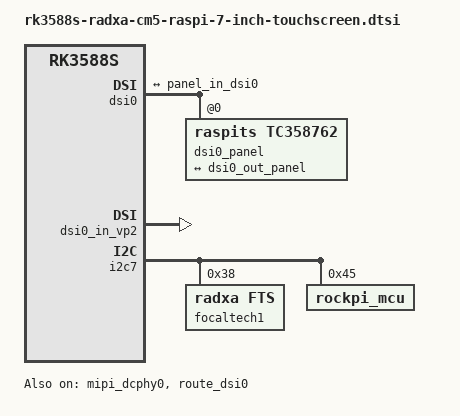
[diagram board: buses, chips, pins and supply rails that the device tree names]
// SPDX-License-Identifier: (GPL-2.0+ OR MIT)
/*
 * Copyright (c) 2021 Rockchip Electronics Co., Ltd.
 */

#include <dt-bindings/display/rockchip_vop.h>

/ {
	compatible = "radxa,rock-cm5", "rockchip,rk3588s";
};

&mipi_dcphy0 {
    status = "okay";
};

&dsi0 {
	status = "okay";
	#address-cells = <1>;
    #size-cells = <0>;
    rockchip,lane-rate = <605>;


	dsi0_panel: dsi-panel@0 {
		compatible = "raspits,tc358762";
		reg = <0x0>;
		status = "okay";

		ports {
			#address-cells = <1>;
			#size-cells = <0>;

			port@0 {
				reg = <0>;

				panel_in_dsi0: endpoint {
					remote-endpoint = <&dsi0_out_panel>;
				};
			};
		};
	};

	ports {
		#address-cells = <1>;
		#size-cells = <0>;

		port@1 {
			reg = <1>;
			#address-cells = <1>;
			#size-cells = <0>;

			dsi0_out_panel: endpoint@0 {
				reg = <0>;
				remote-endpoint = <&panel_in_dsi0>;
			};
		};
	};
};

&dsi0_in_vp3 {
	status = "disabled";
};

&dsi0_in_vp2 {
	status = "okay";
};

&route_dsi0 {
	status = "okay";
	connect = <&vp2_out_dsi0>;
};

&i2c7 {
	status = "okay";
	pinctrl-0 = <&i2c7m2_xfer>;
	#address-cells = <1>;
	#size-cells = <0>;

	// chipone_icn8952: chipone_icn8952@30 {
	// 	compatible = "chipone_icn8505";
	// 	reg = <0x30>;
	// 	status = "okay";
	// };

/*
    rockpi_ft5406: rockpi_ft5406@38 {
		compatible = "rockpi_ft5406";
		reg = <0x38>;
		status = "okay";
	};
*/
    focaltech1: focaltech1@38 {
               status = "okay";
               compatible = "radxa,fts";
               reg = <0x38>;
               irq_mode = <0>; //0 poll ,1 irq
               x_reverse = <1>;
               y_reverse = <1>;
               xy_swap = <0>;
               focaltech,display-coords =  <0 0 800 480>;
               focaltech,max-touch-number = <5>;
     };

	rockpi_mcu: rockpi-mcu@45 {
		compatible = "rockpi_mcu";
		reg = <0x45>;
		status = "okay";
	};
};

&pinctrl {
	mipi {
		vcc_mipi_en: vcc-mipi-en {
			rockchip,pins = <0 RK_PC7 RK_FUNC_GPIO &pcfg_output_high>;
		};
	};

};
